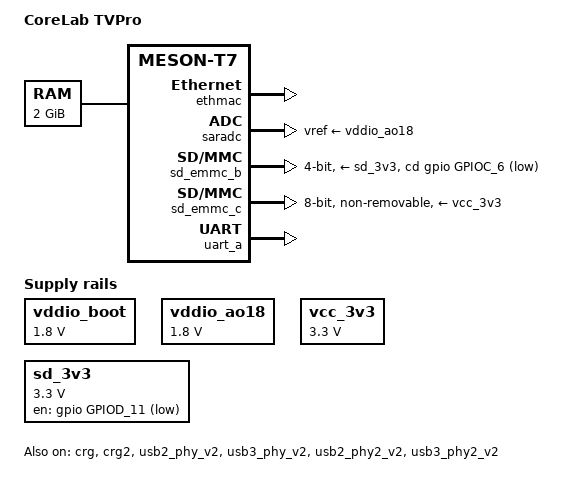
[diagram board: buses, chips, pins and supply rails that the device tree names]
// SPDX-License-Identifier: (GPL-2.0+ OR MIT)
/*
 * Copyright (c) 2021 Nick <nick@khadas.com>.
 */

/dts-v1/;

#include "meson-t7-txxx.dtsi"
#include "khadas-ts050-panel.dtsi"

/ {
	compatible = "corelab,tvpro","amlogic,t7-an400-lpddr4x", "amlogic,t7-txxx", "amlogic,meson-t7";
	model = "CoreLab TVPro";

	aliases {
		serial0 = &uart_a;
		serial1 = &uart_b;
		spi0 = &spifc;
		spi1 = &spicc0;
		spi2 = &spicc1;
		spi3 = &spicc2;
		spi4 = &spicc3;
		spi5 = &spicc4;
		spi6 = &spicc5;
		i2c0 = &i2c0;
		i2c1 = &i2c1;
		i2c2 = &i2c2;
		i2c3 = &i2c3;
		i2c4 = &i2c4;
		i2c5 = &i2c5;
		i2c6 = &i2c_AO_A;
		i2c7 = &i2c_AO_B;
	};

	chosen {
		stdout-path = "serial0:921600n8";
	};

	memory@0 {
		device_type = "memory";
		reg = <0x0 0x0 0x0 0x80000000>;
	};

	vddio_boot: regulator-vddio_boot {
		compatible = "regulator-fixed";
		regulator-name = "VDDIO_BOOT";
		regulator-min-microvolt = <1800000>;
		regulator-max-microvolt = <1800000>;
	};

	vddio_ao18: regulator-vddio_ao18 {
		compatible = "regulator-fixed";
		regulator-name = "VDDIO_AO18";
		regulator-min-microvolt = <1800000>;
		regulator-max-microvolt = <1800000>;
	};

	vcc_3v3: regulator-vcc_3v3 {
		compatible = "regulator-fixed";
		regulator-name = "VCC_3V3";
		regulator-min-microvolt = <3300000>;
		regulator-max-microvolt = <3300000>;
	};

	sd_3v3: regulator-sd_3v3 {
		compatible = "regulator-fixed";
		regulator-name = "SD_3V3";
		regulator-min-microvolt = <3300000>;
		regulator-max-microvolt = <3300000>;

		gpio = <&gpio GPIOD_11 GPIO_ACTIVE_LOW>;
		startup-delay-us = <100000>;
		u-boot,off-on-delay-us = <100000>;
		enable-active-low;
	};

	emmc_pwrseq: emmc-pwrseq {
		compatible = "mmc-pwrseq-emmc";
		/* reset-gpios = <&gpio BOOT_12 GPIO_ACTIVE_LOW>; */
	};

	tee: tee {
		compatible = "linaro,optee-tz";
		method = "smc";
	};
};

&ethmac {
	status = "okay";
	pinctrl-names = "external_eth_rgmii_pins";
	pinctrl-0 = <&external_eth_rgmii_pins>;
	internal_phy = <0>;
	mc_val = <0x1621>;
	cali_val = <0xa0000>;
};

&ir {
	status = "disabled";
	/* pinctrl-0 = <&remote_input_ao_pins>; */
	/* pinctrl-names = "default"; */
};

&pinctrl_periphs {
	bl_pwm_off_pins: bl_pwm_off_pin {
	};
};

&saradc {
	status = "okay";
	vref-supply = <&vddio_ao18>;
};

&amhdmitx {
	enc_idx = <2>; /* value can be 0 or 2 */
};

/* SD card */
&sd_emmc_b {
	status = "okay";
	pinctrl-0 = <&sdcard_pins>;
	pinctrl-1 = <&sdcard_pins &to_sduart_pins>;
	pinctrl-names = "sd_all_pins", "sd_uart";

	bus-width = <4>;
	cap-sd-highspeed;
	max-frequency = <100000000>;
	disable-wp;

	cd-gpios = <&gpio GPIOC_6 GPIO_ACTIVE_HIGH>;
	cd-inverted;

	card_type = <5>;

	init_co_phase = <2>;
	init_tx_phase = <0>;

	sd_hs_co_phase = <2>;
	sd_hs_tx_phase = <0>;

	vmmc-supply = <&sd_3v3>;
};

/* eMMC */
&sd_emmc_c {
	status = "okay";
	pinctrl-0 = <&emmc_pins>;
	pinctrl-names = "default";

	bus-width = <8>;
	cap-mmc-highspeed;
	mmc-hs200-1_8v;
	max-frequency = <200000000>;
	non-removable;
	disable-wp;
	/* mmc-ddr-1_8v; */
	card_type = <1>;

	init_co_phase = <2>;
	init_tx_phase = <0>;

	hs_co_phase = <2>;
	hs_to_phase = <0>;

	hs2_co_phase = <2>;
	hs2_to_phase = <0>;

	hw_reset = <&gpio GPIOB_12 GPIO_ACTIVE_HIGH>;

	mmc-pwrseq = <&emmc_pwrseq>;
	vmmc-supply = <&vcc_3v3>;
	vqmmc-supply = <&vddio_boot>;
};

&crg {
	status = "okay";
	dr_mode = "host";
};

&crg2 {
	status = "okay";
	dr_mode = "host";
};

&usb2_phy_v2 {
	status = "okay";
	portnum = <1>;
};

&usb3_phy_v2 {
	status = "okay";
	portnum = <0>;
	gpio-vbus-power = "GPIOH_4";
	gpios = <&gpio GPIOH_4 GPIO_ACTIVE_HIGH>;
};

&usb2_phy2_v2 {
	status = "okay";
	portnum = <1>;
};

/*
 * Do not turn on USB OTG power supply,
 * because it is used for image burning via A to A cable.
 */
&usb3_phy2_v2 {
	status = "okay";
	portnum = <0>;
	/* gpio-vbus-power = "GPIOH_5"; */
	/* gpios = <&gpio GPIOH_5 GPIO_ACTIVE_HIGH>; */
};

/* Debug */
&uart_a {
	status = "okay";
};
